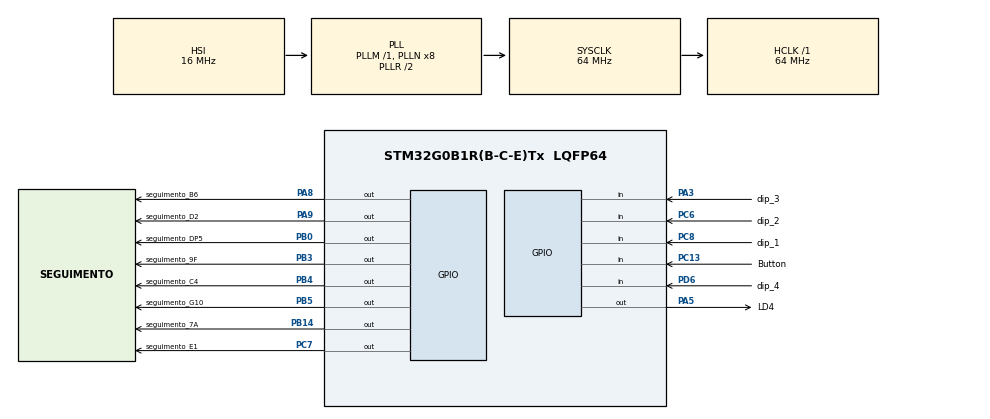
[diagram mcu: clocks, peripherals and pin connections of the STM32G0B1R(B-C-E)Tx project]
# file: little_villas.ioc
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Mcu.Family=STM32G0
Mcu.Name=STM32G0B1R(B-C-E)Tx
Mcu.Package=LQFP64
PA13.Mode=Serial_Wire
PA13.Signal=SYS_SWDIO
PA14-BOOT0.Mode=Serial_Wire
PA14-BOOT0.Signal=SYS_SWCLK
PA3.GPIO_Label=dip_3
PA3.Signal=GPIO_Input
PA5.GPIO_Label=LD4
PA5.GPIO_Speed=GPIO_SPEED_FREQ_VERY_HIGH
PA5.Signal=GPIO_Output
PA8.GPIO_Label=seguimento_B6
PA8.Signal=GPIO_Output
PA9.GPIO_Label=seguimento_D2
PA9.Signal=GPIO_Output
PB0.GPIO_Label=seguimento_DP5
PB0.Signal=GPIO_Output
PB14.GPIO_Label=seguimento_7A
PB14.Signal=GPIO_Output
PB3.GPIO_Label=seguimento_9F
PB3.Signal=GPIO_Output
PB4.GPIO_Label=seguimento_C4
PB4.Signal=GPIO_Output
PB5.GPIO_Label=seguimento_G10
PB5.Signal=GPIO_Output
PC13.GPIO_Label=Button
PC13.Signal=GPIO_Input
PC6.GPIO_Label=dip_2
PC6.GPIO_PuPd=GPIO_PULLUP
PC6.Signal=GPIO_Input
PC7.GPIO_Label=seguimento_E1
PC7.Signal=GPIO_Output
PC8.GPIO_Label=dip_1
PC8.GPIO_Mode=GPIO_MODE_INPUT
PC8.GPIO_PuPd=GPIO_PULLUP
PC8.Signal=GPIO_Input
PD6.GPIO_Label=dip_4
PD6.GPIO_PuPd=GPIO_PULLUP
PD6.Signal=GPIO_Input
ProjectManager.HeapSize=0x200
ProjectManager.StackSize=0x400
ProjectManager.TargetToolchain=STM32CubeIDE
RCC.ADCFreq_Value=64000000
RCC.AHBFreq_Value=64000000
RCC.CortexFreq_Value=64000000
RCC.EXTERNAL_CLOCK_VALUE=48000
RCC.HCLKFreq_Value=64000000
RCC.HSE_VALUE=8000000
RCC.HSI48_VALUE=48000000
RCC.HSI_VALUE=16000000
RCC.LSE_VALUE=32768
RCC.SYSCLKFreq_VALUE=64000000
RCC.SYSCLKSource=RCC_SYSCLKSOURCE_PLLCLK
RCC.USBFreq_Value=48000000
RCC.VCOOutputFreq_Value=128000000
VP_SYS_VS_DBSignals.Mode=DisableDeadBatterySignals
board=custom

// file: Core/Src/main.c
/* USER CODE BEGIN Header */
/**
  ******************************************************************************
  * @file           : main.c
  * @brief          : Main program body
  ******************************************************************************
  * @attention
  *
  * Copyright (c) 2022 STMicroelectronics.
  * All rights reserved.
  *
  * This software is licensed under terms that can be found in the LICENSE file
  * in the root directory of this software component.
  * If no LICENSE file comes with this software, it is provided AS-IS.
  *
  ******************************************************************************
  */
/* USER CODE END Header */
#include "main.h"

/* USER CODE BEGIN PV */
uint32_t delay_ms;
uint16_t soma;
uint8_t d_1;
uint8_t d_2;
uint8_t d_3;
uint8_t d_4;

/* USER CODE END PV */

void SystemClock_Config(void);
static void MX_GPIO_Init(void);

int main(void)
{

  /* MCU Configuration--------------------------------------------------------*/

  /* Reset of all peripherals, Initializes the Flash interface and the Systick. */
  HAL_Init();

  /* Configure the system clock */
  SystemClock_Config();

  /* Initialize all configured peripherals */
  MX_GPIO_Init();

  /* Infinite loop */
  /* USER CODE BEGIN WHILE */
  delay_ms = 1;

  while (1){

	  d_1 = HAL_GPIO_ReadPin(dip_1_GPIO_Port, dip_1_Pin)*8;
	  d_2 = HAL_GPIO_ReadPin(dip_2_GPIO_Port, dip_2_Pin)*4;
	  d_3 = HAL_GPIO_ReadPin(dip_3_GPIO_Port, dip_3_Pin)*2;
	  d_4 = HAL_GPIO_ReadPin(dip_4_GPIO_Port, dip_4_Pin)*1;

	  soma = d_1 + d_2 + d_3 + d_4;

	 switch(soma){
	 	  case 0:
	 		  HAL_GPIO_WritePin(seguimento_DP5_GPIO_Port, seguimento_DP5_Pin, 0);
	 	      HAL_GPIO_WritePin(seguimento_7A_GPIO_Port, seguimento_7A_Pin, 1);
	 	      HAL_GPIO_WritePin(seguimento_B6_GPIO_Port, seguimento_B6_Pin, 1);
	 	      HAL_GPIO_WritePin(seguimento_C4_GPIO_Port, seguimento_C4_Pin, 1);
	 		  HAL_GPIO_WritePin(seguimento_D2_GPIO_Port, seguimento_D2_Pin, 1);
	 		  HAL_GPIO_WritePin(seguimento_E1_GPIO_Port, seguimento_E1_Pin, 1);
	 		  HAL_GPIO_WritePin(seguimento_9F_GPIO_Port, seguimento_9F_Pin, 1);
	 		  HAL_GPIO_WritePin(seguimento_G10_GPIO_Port, seguimento_G10_Pin, 0);
	 		  break;

	 	  case 1:
	 		              HAL_GPIO_WritePin(seguimento_9F_GPIO_Port, seguimento_9F_Pin, 0);
	 		 	 		  HAL_GPIO_WritePin(seguimento_DP5_GPIO_Port, seguimento_DP5_Pin, 0);
	 		 	 		  HAL_GPIO_WritePin(seguimento_C4_GPIO_Port, seguimento_C4_Pin, 1);
	 		 	 		  HAL_GPIO_WritePin(seguimento_7A_GPIO_Port, seguimento_7A_Pin, 0);
	 		 	 		  HAL_GPIO_WritePin(seguimento_B6_GPIO_Port, seguimento_B6_Pin, 1);
	 		 	 		  HAL_GPIO_WritePin(seguimento_D2_GPIO_Port, seguimento_D2_Pin, 0);
	 		 	 		  HAL_GPIO_WritePin(seguimento_E1_GPIO_Port, seguimento_E1_Pin, 0);
	 		 	 		  HAL_GPIO_WritePin(seguimento_G10_GPIO_Port, seguimento_G10_Pin, 0);
	 		  break;

	 	  case 2:
	 		  HAL_GPIO_WritePin(seguimento_9F_GPIO_Port, seguimento_9F_Pin, 0);
	 		  HAL_GPIO_WritePin(seguimento_DP5_GPIO_Port, seguimento_DP5_Pin, 1);
	 		  HAL_GPIO_WritePin(seguimento_C4_GPIO_Port, seguimento_C4_Pin, 0);
	 		  HAL_GPIO_WritePin(seguimento_7A_GPIO_Port, seguimento_7A_Pin, 1);
	 		  HAL_GPIO_WritePin(seguimento_B6_GPIO_Port, seguimento_B6_Pin, 1);
	 		  HAL_GPIO_WritePin(seguimento_D2_GPIO_Port, seguimento_D2_Pin, 1);
	 		  HAL_GPIO_WritePin(seguimento_E1_GPIO_Port, seguimento_E1_Pin, 1);
	 		  HAL_GPIO_WritePin(seguimento_G10_GPIO_Port, seguimento_G10_Pin, 1);
	 		  break;

	 	  case 3:
	 		  HAL_GPIO_WritePin(seguimento_9F_GPIO_Port, seguimento_9F_Pin, 0);
	 		  HAL_GPIO_WritePin(seguimento_DP5_GPIO_Port, seguimento_DP5_Pin, 0);
	 		  HAL_GPIO_WritePin(seguimento_E1_GPIO_Port, seguimento_E1_Pin, 0);
	 		  HAL_GPIO_WritePin(seguimento_7A_GPIO_Port, seguimento_7A_Pin, 1);
	 		  HAL_GPIO_WritePin(seguimento_B6_GPIO_Port, seguimento_B6_Pin, 1);
	 		  HAL_GPIO_WritePin(seguimento_C4_GPIO_Port, seguimento_C4_Pin, 1);
	 		  HAL_GPIO_WritePin(seguimento_D2_GPIO_Port, seguimento_D2_Pin, 1);
	 		  HAL_GPIO_WritePin(seguimento_G10_GPIO_Port, seguimento_G10_Pin, 1);
	 		  break;

	 	  case 4:
	 		  HAL_GPIO_WritePin(seguimento_7A_GPIO_Port, seguimento_7A_Pin, 0);
	 		  HAL_GPIO_WritePin(seguimento_D2_GPIO_Port, seguimento_D2_Pin, 0);
	 		  HAL_GPIO_WritePin(seguimento_E1_GPIO_Port, seguimento_E1_Pin, 0);
	 		  HAL_GPIO_WritePin(seguimento_B6_GPIO_Port, seguimento_B6_Pin, 1);
	 		  HAL_GPIO_WritePin(seguimento_DP5_GPIO_Port, seguimento_DP5_Pin, 0);
	 		  HAL_GPIO_WritePin(seguimento_C4_GPIO_Port, seguimento_C4_Pin, 1);
	 		  HAL_GPIO_WritePin(seguimento_9F_GPIO_Port, seguimento_9F_Pin, 1);
	 		  HAL_GPIO_WritePin(seguimento_G10_GPIO_Port, seguimento_G10_Pin, 1);
	 		  break;

	 	  case 5:
	 		  HAL_GPIO_WritePin(seguimento_D2_GPIO_Port, seguimento_D2_Pin, 0);
	 		  HAL_GPIO_WritePin(seguimento_E1_GPIO_Port, seguimento_E1_Pin, 0);
	 		  HAL_GPIO_WritePin(seguimento_DP5_GPIO_Port, seguimento_DP5_Pin, 0);
	 		  HAL_GPIO_WritePin(seguimento_7A_GPIO_Port, seguimento_7A_Pin, 1);
	 		  HAL_GPIO_WritePin(seguimento_C4_GPIO_Port, seguimento_C4_Pin, 1);
	 		  HAL_GPIO_WritePin(seguimento_D2_GPIO_Port, seguimento_D2_Pin, 1);
	 		  HAL_GPIO_WritePin(seguimento_9F_GPIO_Port, seguimento_9F_Pin, 1);
	 		  HAL_GPIO_WritePin(seguimento_G10_GPIO_Port, seguimento_G10_Pin, 1);
	 		  HAL_GPIO_WritePin(seguimento_B6_GPIO_Port, seguimento_B6_Pin, 0);
	 	  	  break;

	 	  case 6:
	 		  HAL_GPIO_WritePin(seguimento_B6_GPIO_Port, seguimento_B6_Pin, 0);
	 		  HAL_GPIO_WritePin(seguimento_DP5_GPIO_Port, seguimento_DP5_Pin, 0);
	 		  HAL_GPIO_WritePin(seguimento_7A_GPIO_Port, seguimento_7A_Pin, 1);
	 		  HAL_GPIO_WritePin(seguimento_C4_GPIO_Port, seguimento_C4_Pin, 1);
	 		  HAL_GPIO_WritePin(seguimento_D2_GPIO_Port, seguimento_D2_Pin, 1);
	 		  HAL_GPIO_WritePin(seguimento_E1_GPIO_Port, seguimento_E1_Pin, 1);
	 		  HAL_GPIO_WritePin(seguimento_9F_GPIO_Port, seguimento_9F_Pin, 1);
	 		  HAL_GPIO_WritePin(seguimento_G10_GPIO_Port, seguimento_G10_Pin, 1);
	 		  break;

	 	  case 7:

	 	      HAL_GPIO_WritePin(seguimento_D2_GPIO_Port, seguimento_D2_Pin, 0);
	 		  HAL_GPIO_WritePin(seguimento_C4_GPIO_Port, seguimento_C4_Pin, 0);
	 		  HAL_GPIO_WritePin(seguimento_DP5_GPIO_Port, seguimento_DP5_Pin, 0);
	 		  HAL_GPIO_WritePin(seguimento_B6_GPIO_Port, seguimento_B6_Pin, 0);
	 		  HAL_GPIO_WritePin(seguimento_7A_GPIO_Port, seguimento_7A_Pin, 1);
	 		  HAL_GPIO_WritePin(seguimento_E1_GPIO_Port, seguimento_E1_Pin, 1);
	 		  HAL_GPIO_WritePin(seguimento_9F_GPIO_Port, seguimento_9F_Pin, 1);
	 		  HAL_GPIO_WritePin(seguimento_G10_GPIO_Port, seguimento_G10_Pin, 0);
	 	  	  break;

	 	  case 8:
	 		  HAL_GPIO_WritePin(seguimento_7A_GPIO_Port, seguimento_7A_Pin, 1);
	 		  HAL_GPIO_WritePin(seguimento_B6_GPIO_Port, seguimento_B6_Pin, 1);
	 		  HAL_GPIO_WritePin(seguimento_C4_GPIO_Port, seguimento_C4_Pin, 1);
	 		  HAL_GPIO_WritePin(seguimento_D2_GPIO_Port, seguimento_D2_Pin, 1);
	 		  HAL_GPIO_WritePin(seguimento_E1_GPIO_Port, seguimento_E1_Pin, 1);
	 		  HAL_GPIO_WritePin(seguimento_9F_GPIO_Port, seguimento_9F_Pin, 1);
	 		  HAL_GPIO_WritePin(seguimento_DP5_GPIO_Port, seguimento_DP5_Pin, 1);
	 		  HAL_GPIO_WritePin(seguimento_G10_GPIO_Port, seguimento_G10_Pin, 1);
	 	  	  break;

	 	  case 9:
	 		  HAL_GPIO_WritePin(seguimento_E1_GPIO_Port, seguimento_E1_Pin, 0);
	 		  HAL_GPIO_WritePin(seguimento_7A_GPIO_Port, seguimento_7A_Pin, 1);
	 		  HAL_GPIO_WritePin(seguimento_B6_GPIO_Port, seguimento_B6_Pin, 1);
	 		  HAL_GPIO_WritePin(seguimento_C4_GPIO_Port, seguimento_C4_Pin, 1);
	 		  HAL_GPIO_WritePin(seguimento_D2_GPIO_Port, seguimento_D2_Pin, 1);
	 		  HAL_GPIO_WritePin(seguimento_9F_GPIO_Port, seguimento_9F_Pin, 1);
	 		  HAL_GPIO_WritePin(seguimento_DP5_GPIO_Port, seguimento_DP5_Pin, 1);
	 	  	  break;

	      case 10:
		       HAL_GPIO_WritePin(seguimento_E1_GPIO_Port, seguimento_E1_Pin, 1);
		       HAL_GPIO_WritePin(seguimento_D2_GPIO_Port, seguimento_D2_Pin, 0);
		 	   HAL_GPIO_WritePin(seguimento_C4_GPIO_Port, seguimento_C4_Pin, 1);
		 	   HAL_GPIO_WritePin(seguimento_DP5_GPIO_Port, seguimento_DP5_Pin, 1);
		 	   HAL_GPIO_WritePin(seguimento_B6_GPIO_Port, seguimento_B6_Pin, 1);
		 	   HAL_GPIO_WritePin(seguimento_7A_GPIO_Port, seguimento_7A_Pin, 1);
		 	   HAL_GPIO_WritePin(seguimento_9F_GPIO_Port, seguimento_9F_Pin, 1);

		  break;
	      case 11:
		       HAL_GPIO_WritePin(seguimento_E1_GPIO_Port, seguimento_E1_Pin, 1);
		 	   HAL_GPIO_WritePin(seguimento_D2_GPIO_Port, seguimento_D2_Pin, 1);
		 	   HAL_GPIO_WritePin(seguimento_C4_GPIO_Port, seguimento_C4_Pin, 1);
		 	   HAL_GPIO_WritePin(seguimento_DP5_GPIO_Port, seguimento_DP5_Pin, 1);
		 	   HAL_GPIO_WritePin(seguimento_B6_GPIO_Port, seguimento_B6_Pin, 1);
		 	   HAL_GPIO_WritePin(seguimento_7A_GPIO_Port, seguimento_7A_Pin, 1);
		 	   HAL_GPIO_WritePin(seguimento_9F_GPIO_Port, seguimento_9F_Pin, 1);
		 	   HAL_GPIO_WritePin(seguimento_G10_GPIO_Port, seguimento_G10_Pin, 1);
		  break;

	      case 12:
	          HAL_GPIO_WritePin(seguimento_E1_GPIO_Port, seguimento_E1_Pin, 1);
	 	  	  HAL_GPIO_WritePin(seguimento_D2_GPIO_Port, seguimento_D2_Pin, 1);
	 	  	  HAL_GPIO_WritePin(seguimento_C4_GPIO_Port, seguimento_C4_Pin, 1);
	 	  	  HAL_GPIO_WritePin(seguimento_DP5_GPIO_Port, seguimento_DP5_Pin, 1);
	 	  	  HAL_GPIO_WritePin(seguimento_B6_GPIO_Port, seguimento_B6_Pin, 0);
	 	  	  HAL_GPIO_WritePin(seguimento_7A_GPIO_Port, seguimento_7A_Pin, 1);
	 	  	  HAL_GPIO_WritePin(seguimento_9F_GPIO_Port, seguimento_9F_Pin, 1);
	 	  	  HAL_GPIO_WritePin(seguimento_G10_GPIO_Port, seguimento_G10_Pin, 0);
	 	 break;

	     case 13:
	          HAL_GPIO_WritePin(seguimento_E1_GPIO_Port, seguimento_E1_Pin, 1);
	 	  	  HAL_GPIO_WritePin(seguimento_D2_GPIO_Port, seguimento_D2_Pin, 1);
	 	  	  HAL_GPIO_WritePin(seguimento_C4_GPIO_Port, seguimento_C4_Pin, 0);
	 	  	  HAL_GPIO_WritePin(seguimento_DP5_GPIO_Port, seguimento_DP5_Pin, 1);
	 	  	  HAL_GPIO_WritePin(seguimento_B6_GPIO_Port, seguimento_B6_Pin, 0);
	 	  	  HAL_GPIO_WritePin(seguimento_7A_GPIO_Port, seguimento_7A_Pin, 1);
	 	  	  HAL_GPIO_WritePin(seguimento_9F_GPIO_Port, seguimento_9F_Pin, 1);
	 	  	  HAL_GPIO_WritePin(seguimento_G10_GPIO_Port, seguimento_G10_Pin, 0);

	 	 break;

	     case 14:
		      HAL_GPIO_WritePin(seguimento_E1_GPIO_Port, seguimento_E1_Pin, 1);
		 	  HAL_GPIO_WritePin(seguimento_D2_GPIO_Port, seguimento_D2_Pin, 1);
		 	  HAL_GPIO_WritePin(seguimento_C4_GPIO_Port, seguimento_C4_Pin, 1);
		 	  HAL_GPIO_WritePin(seguimento_DP5_GPIO_Port, seguimento_DP5_Pin, 1);
		 	  HAL_GPIO_WritePin(seguimento_B6_GPIO_Port, seguimento_B6_Pin, 1);
		 	  HAL_GPIO_WritePin(seguimento_7A_GPIO_Port, seguimento_7A_Pin, 1);
		 	  HAL_GPIO_WritePin(seguimento_9F_GPIO_Port, seguimento_9F_Pin, 1);
		 	  HAL_GPIO_WritePin(seguimento_G10_GPIO_Port, seguimento_G10_Pin, 0);
	 	  break;

          case 15:
    	       HAL_GPIO_WritePin(seguimento_E1_GPIO_Port, seguimento_E1_Pin, 1);
    	  	   HAL_GPIO_WritePin(seguimento_D2_GPIO_Port, seguimento_D2_Pin, 0);
    	  	   HAL_GPIO_WritePin(seguimento_C4_GPIO_Port, seguimento_C4_Pin, 0);
    	  	   HAL_GPIO_WritePin(seguimento_DP5_GPIO_Port, seguimento_DP5_Pin, 0);
    	  	   HAL_GPIO_WritePin(seguimento_B6_GPIO_Port, seguimento_B6_Pin, 0);
    	  	   HAL_GPIO_WritePin(seguimento_7A_GPIO_Port, seguimento_7A_Pin, 1);
    	  	   HAL_GPIO_WritePin(seguimento_9F_GPIO_Port, seguimento_9F_Pin, 1);
    	  	   HAL_GPIO_WritePin(seguimento_G10_GPIO_Port, seguimento_G10_Pin, 1);
    	  break;

        default:
	    break ;

	 }
	 }
  {
	      if(HAL_GPIO_ReadPin(Button_GPIO_Port,Button_Pin) == GPIO_PIN_RESET){
	    	          HAL_GPIO_WritePin(seguimento_E1_GPIO_Port, seguimento_E1_Pin, 1);
	    	  	  	  HAL_GPIO_WritePin(seguimento_D2_GPIO_Port, seguimento_D2_Pin, 1);
	    	  	  	  HAL_GPIO_WritePin(seguimento_C4_GPIO_Port, seguimento_C4_Pin, 1);
	    	  	  	  HAL_GPIO_WritePin(seguimento_DP5_GPIO_Port, seguimento_DP5_Pin, 1);
	    	  	  	  HAL_GPIO_WritePin(seguimento_B6_GPIO_Port, seguimento_B6_Pin, 1);
	    	  	  	  HAL_GPIO_WritePin(seguimento_7A_GPIO_Port, seguimento_7A_Pin, 1);
	    	  	  	  HAL_GPIO_WritePin(seguimento_9F_GPIO_Port, seguimento_9F_Pin, 1);
	    	  	  	  HAL_GPIO_WritePin(seguimento_G10_GPIO_Port, seguimento_G10_Pin, 1);

	      }

	      HAL_GPIO_WritePin(seguimento_E1_GPIO_Port, seguimento_E1_Pin, 1);
	  	  HAL_GPIO_WritePin(seguimento_D2_GPIO_Port, seguimento_D2_Pin, 1);
	  	  HAL_GPIO_WritePin(seguimento_C4_GPIO_Port, seguimento_C4_Pin, 1);
	  	  HAL_GPIO_WritePin(seguimento_DP5_GPIO_Port, seguimento_DP5_Pin, 1);
	  	  HAL_GPIO_WritePin(seguimento_B6_GPIO_Port, seguimento_B6_Pin, 1);
	  	  HAL_GPIO_WritePin(seguimento_7A_GPIO_Port, seguimento_7A_Pin, 1);
	  	  HAL_GPIO_WritePin(seguimento_9F_GPIO_Port, seguimento_9F_Pin, 1);
	  	  HAL_GPIO_WritePin(seguimento_G10_GPIO_Port, seguimento_G10_Pin, 0);

    /* USER CODE END WHILE */

  }
}

void SystemClock_Config(void)
{
  RCC_OscInitTypeDef RCC_OscInitStruct = {0};
  RCC_ClkInitTypeDef RCC_ClkInitStruct = {0};

  /** Configure the main internal regulator output voltage
  */
  HAL_PWREx_ControlVoltageScaling(PWR_REGULATOR_VOLTAGE_SCALE1);
  /** Initializes the RCC Oscillators according to the specified parameters
  * in the RCC_OscInitTypeDef structure.
  */
  RCC_OscInitStruct.OscillatorType = RCC_OSCILLATORTYPE_HSI;
  RCC_OscInitStruct.HSIState = RCC_HSI_ON;
  RCC_OscInitStruct.HSIDiv = RCC_HSI_DIV1;
  RCC_OscInitStruct.HSICalibrationValue = RCC_HSICALIBRATION_DEFAULT;
  RCC_OscInitStruct.PLL.PLLState = RCC_PLL_ON;
  RCC_OscInitStruct.PLL.PLLSource = RCC_PLLSOURCE_HSI;
  RCC_OscInitStruct.PLL.PLLM = RCC_PLLM_DIV1;
  RCC_OscInitStruct.PLL.PLLN = 8;
  RCC_OscInitStruct.PLL.PLLP = RCC_PLLP_DIV2;
  RCC_OscInitStruct.PLL.PLLQ = RCC_PLLQ_DIV2;
  RCC_OscInitStruct.PLL.PLLR = RCC_PLLR_DIV2;
  if (HAL_RCC_OscConfig(&RCC_OscInitStruct) != HAL_OK)
  {
    Error_Handler();
  }
  /** Initializes the CPU, AHB and APB buses clocks
  */
  RCC_ClkInitStruct.ClockType = RCC_CLOCKTYPE_HCLK|RCC_CLOCKTYPE_SYSCLK
                              |RCC_CLOCKTYPE_PCLK1;
  RCC_ClkInitStruct.SYSCLKSource = RCC_SYSCLKSOURCE_PLLCLK;
  RCC_ClkInitStruct.AHBCLKDivider = RCC_SYSCLK_DIV1;
  RCC_ClkInitStruct.APB1CLKDivider = RCC_HCLK_DIV1;

  if (HAL_RCC_ClockConfig(&RCC_ClkInitStruct, FLASH_LATENCY_2) != HAL_OK)
  {
    Error_Handler();
  }
}

static void MX_GPIO_Init(void)
{
  GPIO_InitTypeDef GPIO_InitStruct = {0};

  /* GPIO Ports Clock Enable */
  __HAL_RCC_GPIOC_CLK_ENABLE();
  __HAL_RCC_GPIOA_CLK_ENABLE();
  __HAL_RCC_GPIOB_CLK_ENABLE();
  __HAL_RCC_GPIOD_CLK_ENABLE();

  /*Configure GPIO pin Output Level */
  HAL_GPIO_WritePin(GPIOA, LD4_Pin|seguimento_B6_Pin|seguimento_D2_Pin, GPIO_PIN_RESET);

  /*Configure GPIO pin Output Level */
  HAL_GPIO_WritePin(GPIOB, seguimento_DP5_Pin|seguimento_7A_Pin|seguimento_9F_Pin|seguimento_C4_Pin
                          |seguimento_G10_Pin, GPIO_PIN_RESET);

  /*Configure GPIO pin Output Level */
  HAL_GPIO_WritePin(seguimento_E1_GPIO_Port, seguimento_E1_Pin, GPIO_PIN_RESET);

  /*Configure GPIO pin : Button_Pin */
  GPIO_InitStruct.Pin = Button_Pin;
  GPIO_InitStruct.Mode = GPIO_MODE_INPUT;
  GPIO_InitStruct.Pull = GPIO_NOPULL;
  HAL_GPIO_Init(Button_GPIO_Port, &GPIO_InitStruct);

  /*Configure GPIO pin : dip_3_Pin */
  GPIO_InitStruct.Pin = dip_3_Pin;
  GPIO_InitStruct.Mode = GPIO_MODE_INPUT;
  GPIO_InitStruct.Pull = GPIO_NOPULL;
  HAL_GPIO_Init(dip_3_GPIO_Port, &GPIO_InitStruct);

  /*Configure GPIO pin : LD4_Pin */
  GPIO_InitStruct.Pin = LD4_Pin;
  GPIO_InitStruct.Mode = GPIO_MODE_OUTPUT_PP;
  GPIO_InitStruct.Pull = GPIO_NOPULL;
  GPIO_InitStruct.Speed = GPIO_SPEED_FREQ_VERY_HIGH;
  HAL_GPIO_Init(LD4_GPIO_Port, &GPIO_InitStruct);

  /*Configure GPIO pins : seguimento_DP5_Pin seguimento_7A_Pin seguimento_9F_Pin seguimento_C4_Pin
                           seguimento_G10_Pin */
  GPIO_InitStruct.Pin = seguimento_DP5_Pin|seguimento_7A_Pin|seguimento_9F_Pin|seguimento_C4_Pin
                          |seguimento_G10_Pin;
  GPIO_InitStruct.Mode = GPIO_MODE_OUTPUT_PP;
  GPIO_InitStruct.Pull = GPIO_NOPULL;
  GPIO_InitStruct.Speed = GPIO_SPEED_FREQ_LOW;
  HAL_GPIO_Init(GPIOB, &GPIO_InitStruct);

  /*Configure GPIO pins : seguimento_B6_Pin seguimento_D2_Pin */
  GPIO_InitStruct.Pin = seguimento_B6_Pin|seguimento_D2_Pin;
  GPIO_InitStruct.Mode = GPIO_MODE_OUTPUT_PP;
  GPIO_InitStruct.Pull = GPIO_NOPULL;
  GPIO_InitStruct.Speed = GPIO_SPEED_FREQ_LOW;
  HAL_GPIO_Init(GPIOA, &GPIO_InitStruct);

  /*Configure GPIO pins : dip_2_Pin dip_1_Pin */
  GPIO_InitStruct.Pin = dip_2_Pin|dip_1_Pin;
  GPIO_InitStruct.Mode = GPIO_MODE_INPUT;
  GPIO_InitStruct.Pull = GPIO_PULLUP;
  HAL_GPIO_Init(GPIOC, &GPIO_InitStruct);

  /*Configure GPIO pin : seguimento_E1_Pin */
  GPIO_InitStruct.Pin = seguimento_E1_Pin;
  GPIO_InitStruct.Mode = GPIO_MODE_OUTPUT_PP;
  GPIO_InitStruct.Pull = GPIO_NOPULL;
  GPIO_InitStruct.Speed = GPIO_SPEED_FREQ_LOW;
  HAL_GPIO_Init(seguimento_E1_GPIO_Port, &GPIO_InitStruct);

  /*Configure GPIO pin : dip_4_Pin */
  GPIO_InitStruct.Pin = dip_4_Pin;
  GPIO_InitStruct.Mode = GPIO_MODE_INPUT;
  GPIO_InitStruct.Pull = GPIO_PULLUP;
  HAL_GPIO_Init(dip_4_GPIO_Port, &GPIO_InitStruct);

}

void Error_Handler(void)
{
  __disable_irq();
  while (1)
  {
  }
}
